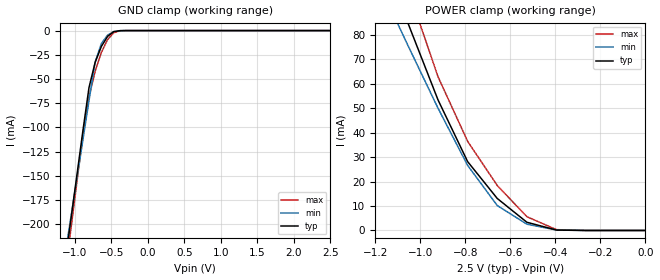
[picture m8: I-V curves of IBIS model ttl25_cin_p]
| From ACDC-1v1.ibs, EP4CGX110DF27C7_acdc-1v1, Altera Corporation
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[Model]   ttl25_cin_p
Model_type  Input
Polarity   Non-Inverting
Vinl   = 0.7
Vinh   = 1.7
| C_comp values for normal column I/O
C_comp 4.7pF   4.7pF   4.7pF
[Temperature Range] 25   85   0
[Voltage Range]  2.5   2.325   2.625
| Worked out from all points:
|   GND clamp passes 1 mA (typ) near -0.45 V on its own axis
|   POWER clamp passes 1 mA (typ) near -0.43 V on its own axis
[GND Clamp]
| voltage   I (typ)   I (min)   I (max)
-2.5V     -1.003A    -896.6mA   -1.06A
-1.144V   -246.2mA   -237.2mA   -259.1mA
-1.059V   -198.8mA   -196mA     -209mA
-974.6mV  -151.6mA   -154.8mA   -158.9mA
-889.8mV  -104.3mA   -113.6mA   -108.8mA
-805.1mV  -58.87mA   -72.41mA   -68.82mA
-720.3mV  -32.71mA   -32.28mA   -41.9mA
-635.6mV  -16.39mA   -13.32mA   -22.54mA
-550.8mV  -6.002mA   -4.742mA   -9.332mA
-466.1mV  -1.154mA   -978.7uA   -2.246mA
-296.6mV  -4.684uA   -8.884uA   -9.494uA
2.5V      0A         0A         0A
[POWER Clamp]
| voltage   I (typ)   I (min)   I (max)
-2.5V     409.7mA    349.7mA    464.7mA
-1.184V   116.2mA    100.9mA    135.4mA
-1.053V   84.24mA    75.18mA    98.26mA
-921.1mV  53.34mA    49.95mA    62.8mA
-789.5mV  28.12mA    26.56mA    36.41mA
-657.9mV  13.06mA    10.18mA    18.35mA
-526.3mV  3.351mA    2.57mA     5.618mA
-394.7mV  159.8uA    183.4uA    336.4uA
0V        0A         0A         0A
